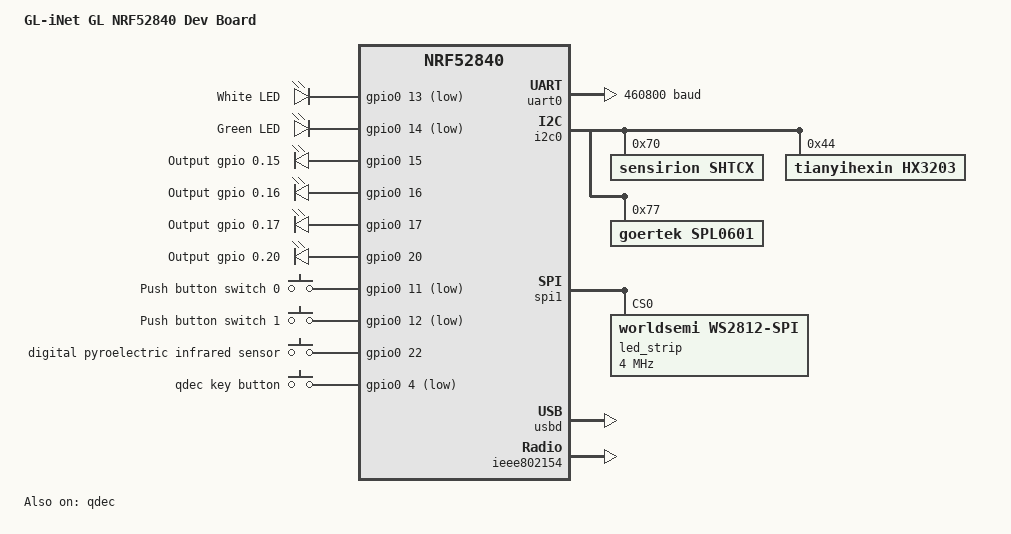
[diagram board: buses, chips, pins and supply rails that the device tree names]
/*******************************************************************************
 Copyright 2022 GL-iNet. https://www.gl-inet.com/

 Licensed under the Apache License, Version 2.0 (the "License");
 you may not use this file except in compliance with the License.
 You may obtain a copy of the License at
 
 http://www.apache.org/licenses/LICENSE-2.0
 
 Unless required by applicable law or agreed to in writing, software
 distributed under the License is distributed on an "AS IS" BASIS,
 WITHOUT WARRANTIES OR CONDITIONS OF ANY KIND, either express or implied.
 See the License for the specific language governing permissions and
 limitations under the License.
 ******************************************************************************/

/dts-v1/;
#include <nordic/nrf52840_qiaa.dtsi>
#include "gl_nrf52840_dev_board-pinctrl.dtsi"
#include <dt-bindings/led/led.h>

	
/ {
	model = "GL-iNet GL NRF52840 Dev Board";
	compatible = "gl-inet,gl-nrf52840-dev-board";

	chosen {
		zephyr,console = &uart0;
		zephyr,shell-uart = &uart0;
		zephyr,uart-mcumgr = &uart0;
		zephyr,sram = &sram0;
		zephyr,flash = &flash0;
		zephyr,code-partition = &slot0_partition;
		zephyr,entropy = &rng;
		zephyr,ieee802154 = &ieee802154;
	};

	leds {
		compatible = "gpio-leds";
		led0: led_0 {
			gpios = <&gpio0 13 GPIO_ACTIVE_LOW>;
			label = "White LED";
		};
		led1: led_1 {
			gpios = <&gpio0 14 GPIO_ACTIVE_LOW>;
			label = "Green LED";
		};

		// led2: led_2 {
		// 	gpios = <&gpio0 15 GPIO_ACTIVE_HIGH>;
		// 	label = "Output gpio 0.15";
		// };
		// led3: led_3 {
		// 	gpios = <&gpio0 16 GPIO_ACTIVE_HIGH>;
		// 	label = "Output gpio 0.16";
		// };
		// led4: led_4 {
		// 	gpios = <&gpio0 17 GPIO_ACTIVE_HIGH>;
		// 	label = "Output gpio 0.17";
		// };
		// led5: led_5 {
		// 	gpios = <&gpio0 20 GPIO_ACTIVE_HIGH>;
		// 	label = "Output gpio 0.20";
		// };

	};

	glios{
		compatible = "gpio-leds";
		io0: io_0 {
			gpios = <&gpio0 15 GPIO_ACTIVE_HIGH>;
			label = "Output gpio 0.15";
		};
		io1: io_1 {
			gpios = <&gpio0 16 GPIO_ACTIVE_HIGH>;
			label = "Output gpio 0.16";
		};
		io2: io_2 {
			gpios = <&gpio0 17 GPIO_ACTIVE_HIGH>;
			label = "Output gpio 0.17";
		};
		io3: io_3 {
			gpios = <&gpio0 20 GPIO_ACTIVE_HIGH>;
			label = "Output gpio 0.20";
		};
	};

	buttons {
		compatible = "gpio-keys";
		button0: button_0 {
			gpios = <&gpio0 11 (GPIO_PULL_UP | GPIO_ACTIVE_LOW)>;
			label = "Push button switch 0";
		};
		button1: button_1 {
			gpios = <&gpio0 12 (GPIO_PULL_UP | GPIO_ACTIVE_LOW)>;
			label = "Push button switch 1";
		};
		button2: button_2 {
			gpios = <&gpio0 22 (GPIO_PULL_UP | GPIO_ACTIVE_HIGH)>;
			label = "digital pyroelectric infrared sensor";
		};
		button3: button_3 {
			gpios = <&gpio0 4 (GPIO_PULL_UP | GPIO_ACTIVE_LOW)>;
			label = "qdec key button";
		};
	};


	/* These aliases are provided for compatibility with samples */
	aliases {
		led0 = &led0;
		led1 = &led1;
		io0 = &io0;
		io1 = &io1;
		io2 = &io2;
		io3 = &io3;
		sw0 = &button0;
		sw1 = &button1;
		sw2 = &button2;
		sw3 = &button3;
		bootloader-led0 = &led0;
		led-strip = &led_strip;
		mcuboot-button0 = &button0;
		mcuboot-led0 = &led0;
		watchdog0 = &wdt0;
		qdec0 = &qdec;
	};
};

&adc {
	status = "disabled";
};

&gpiote {
	status = "okay";
};

&gpio0 {
	status = "okay";
};

&gpio1 {
	status = "okay";
};

&uart0 {
	compatible = "nordic,nrf-uarte";
	status = "okay";
	current-speed = <460800>;
	pinctrl-0 = <&uart0_default>;
	pinctrl-1 = <&uart0_sleep>;
	pinctrl-names = "default", "sleep";
};

&i2c0 {
	compatible = "nordic,nrf-twi";
	status = "okay";
	pinctrl-0 = <&i2c0_default>;
	pinctrl-1 = <&i2c0_sleep>;
	pinctrl-names = "default", "sleep";
	shtcx@70 {
		compatible = "sensirion,shtcx";
		reg = <0x70>;
		chip = "shtc3";
		measure-mode = "normal";
		clock-stretching;
	};
	hx3203@44 {
		compatible = "tianyihexin,hx3203";
		reg = <0x44>;
	};
	spl0601@77 {
		compatible = "goertek,spl0601";
		reg = <0x77>;
	};
};

&spi1 {
	compatible = "nordic,nrf-spim";
	status = "okay";
	pinctrl-0 = <&spi1_default>;
	pinctrl-1 = <&spi1_sleep>;
	pinctrl-names = "default", "sleep";
	led_strip: ws2812@0 {
		compatible = "worldsemi,ws2812-spi";
		// label = "WS2812";

		/* SPI */
		reg = <0>; /* ignored, but necessary for SPI bindings */
		spi-max-frequency = <4000000>;

		/* WS2812 */
		chain-length = <2>; /* arbitrary; change at will */
		color-mapping = <LED_COLOR_ID_GREEN
					LED_COLOR_ID_RED
					LED_COLOR_ID_BLUE>;
		spi-one-frame = <0x70>;
		spi-zero-frame = <0x40>;
	};

};

&flash0 {

	partitions {
		compatible = "fixed-partitions";
		#address-cells = <1>;
		#size-cells = <1>;

		boot_partition: partition@0 {
			label = "mcuboot";
			reg = <0x000000000 0x0000C000>;
		};
		slot0_partition: partition@c000 {
			label = "image-0";
			reg = <0x0000C000 0x00067000>;
		};
		slot1_partition: partition@73000 {
			label = "image-1";
			reg = <0x00073000 0x00067000>;
		};
		scratch_partition: partition@da000 {
			label = "image-scratch";
			reg = <0x000da000 0x0001e000>;
		};

		/*
		 * The flash starting at 0x000f8000 and ending at
		 * 0x000fffff is reserved for use by the application.
		 */

		/*
		 * Storage partition will be used by FCB/LittleFS/NVS
		 * if enabled.
		 */
		storage_partition: partition@f8000 {
			label = "storage";
			reg = <0x000f8000 0x00008000>;
		};
	};
};

zephyr_udc0: &usbd {
	compatible = "nordic,nrf-usbd";
	status = "okay";
};

&qdec {
	compatible = "nordic,nrf-qdec";
	status = "okay";
	// a-pin = <35>; /* P1.03 */
	// b-pin = <32>; /* P1.01 */
	// enable-pin = <23> ;
	// led-pin = <0xFFFFFFFF>;
	led-pre = <0>;
	steps = <60>; 
	pinctrl-0 = <&qdec_default>;
	pinctrl-1 = <&qdec_sleep>;
	pinctrl-names = "default", "sleep";
};

&ieee802154 {
	status = "okay";
};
